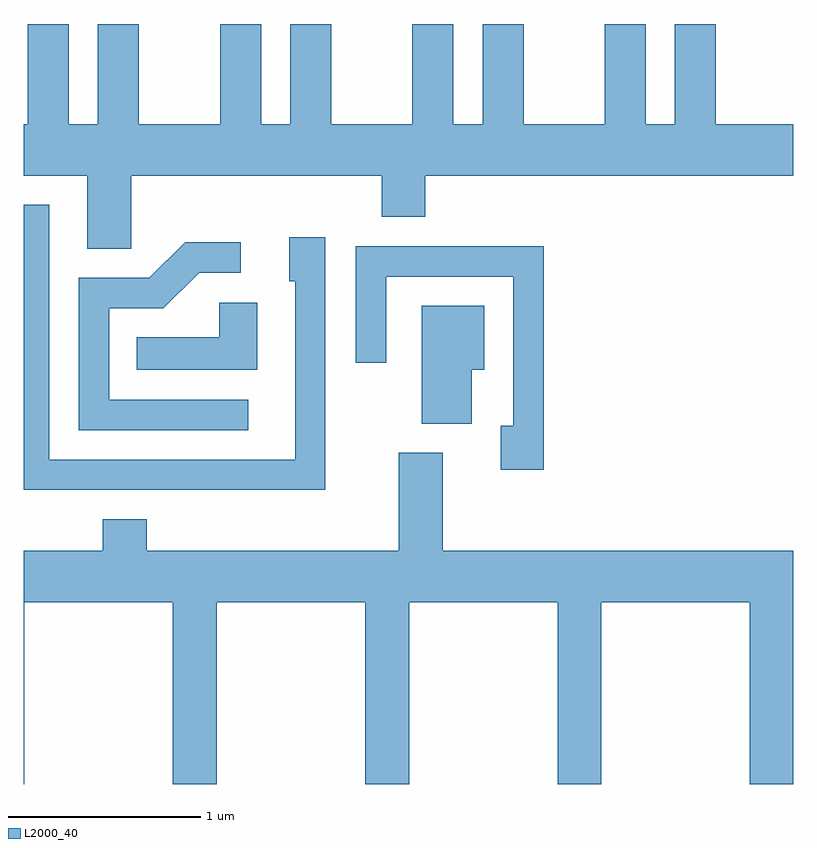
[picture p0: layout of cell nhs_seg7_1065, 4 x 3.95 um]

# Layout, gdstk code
import gdstk
lib = gdstk.Library(unit=1e-6, precision=1e-09)
def P(c, l, *ps):  # polygons
    for p in ps: c.add(gdstk.Polygon(p, *l))
L2000_40 = (2000, 40)

nhs_seg7_1065 = lib.new_cell('nhs_seg7_1065')
P(nhs_seg7_1065, L2000_40, [(218.169,1725.416),(219.471,1725.416),(219.471,1725.201),(219.699,1725.201),(219.699,1725.416),(221.611,1725.416),(221.611,1725.684),(221.209,1725.684),(221.209,1726.204),(220.996,1726.204),(220.996,1725.684),(220.844,1725.684),(220.844,1726.204),(220.631,1726.204),(220.631,1725.684),(220.209,1725.684),(220.209,1726.204),(219.996,1726.204),(219.996,1725.684),(219.844,1725.684),(219.844,1726.204),(219.631,1726.204),(219.631,1725.684),(219.209,1725.684),(219.209,1726.204),(218.996,1726.204),(218.996,1725.684),(218.844,1725.684),(218.844,1726.204),(218.631,1726.204),(218.631,1725.684),(218.209,1725.684),(218.209,1726.204),(217.996,1726.204),(217.996,1725.684),(217.844,1725.684),(217.844,1726.204),(217.631,1726.204),(217.631,1725.684),(217.611,1725.684),(217.611,1725.416),(217.941,1725.416),(217.941,1725.036),(218.169,1725.036)],
  [(219.179,1725.094),(218.991,1725.094),(218.991,1724.866),(219.021,1724.866),(219.021,1723.939),(217.744,1723.939),(217.744,1725.264),(217.611,1725.264),(217.611,1723.781),(219.179,1723.781)],
  [(218.778,1724.249),(218.054,1724.249),(218.054,1724.726),(218.337,1724.726),(218.522,1724.911),(218.738,1724.911),(218.738,1725.069),(218.449,1725.069),(218.264,1724.884),(217.896,1724.884),(217.896,1724.091),(218.778,1724.091)],
  [(220.314,1725.049),(219.336,1725.049),(219.336,1724.443),(219.494,1724.443),(219.494,1724.891),(220.156,1724.891),(220.156,1724.114),(220.091,1724.114),(220.091,1723.886),(220.314,1723.886)],
  [(218.824,1724.754),(218.626,1724.754),(218.626,1724.574),(218.198,1724.574),(218.198,1724.406),(218.824,1724.406)],
  [(219.939,1724.406),(220.004,1724.406),(220.004,1724.739),(219.681,1724.739),(219.681,1724.126),(219.939,1724.126)],
  [(217.614,1723.196),(218.386,1723.196),(218.386,1722.252),(218.614,1722.252),(218.614,1723.196),(219.386,1723.196),(219.386,1722.252),(219.614,1722.252),(219.614,1723.196),(220.386,1723.196),(220.386,1722.252),(220.614,1722.252),(220.614,1723.196),(221.386,1723.196),(221.386,1722.252),(221.611,1722.252),(221.611,1723.464),(219.789,1723.464),(219.789,1723.974),(219.561,1723.974),(219.561,1723.464),(218.249,1723.464),(218.249,1723.629),(218.021,1723.629),(218.021,1723.464),(217.611,1723.464),(217.611,1722.252),(217.614,1722.252)])

lib.write_gds('nhs_seg7_1065.gds')
